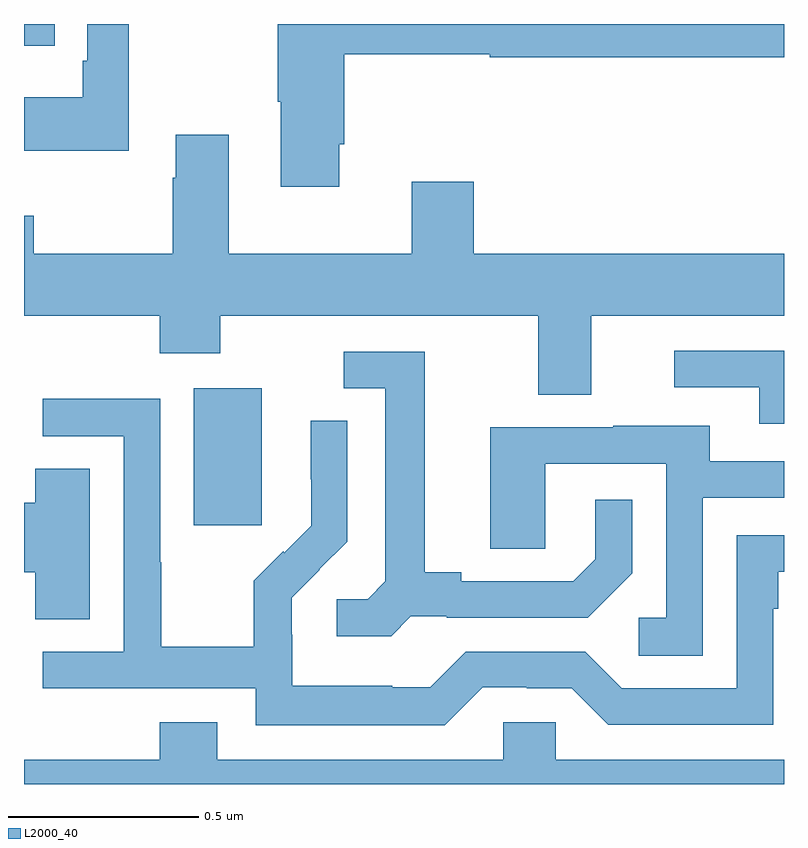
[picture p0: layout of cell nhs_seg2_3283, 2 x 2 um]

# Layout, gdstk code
import gdstk
lib = gdstk.Library(unit=1e-6, precision=1e-09)
def R(c, l, rs):  # rectangles x0, y0, x1, y1
    for r in rs: c.add(gdstk.rectangle(r[:2], r[2:], *l))
def P(c, l, *ps):  # polygons
    for p in ps: c.add(gdstk.Polygon(p, *l))
L2000_40 = (2000, 40)

nhs_seg2_3283 = lib.new_cell('nhs_seg2_3283')
R(nhs_seg2_3283, L2000_40, [(152.447,584.481,152.626,584.842), (152,585.743,152.081,585.8)])
P(nhs_seg2_3283, L2000_40, [(152.275,585.8),(152.166,585.8),(152.166,585.703),(152.154,585.703),(152.154,585.607),(152,585.607),(152,585.467),(152.275,585.467)],
  [(152.83,585.484),(152.843,585.484),(152.843,585.72),(153.226,585.72),(153.226,585.712),(154,585.712),(154,585.8),(152.668,585.8),(152.668,585.595),(152.675,585.595),(152.675,585.372),(152.83,585.372)],
  [(153.493,585.032),(154,585.032),(154,585.196),(153.184,585.196),(153.184,585.385),(153.02,585.385),(153.02,585.196),(152.539,585.196),(152.539,585.508),(152.399,585.508),(152.399,585.395),(152.392,585.395),(152.392,585.196),(152.025,585.196),(152.025,585.295),(152,585.295),(152,585.032),(152.357,585.032),(152.357,584.933),(152.517,584.933),(152.517,585.032),(153.353,585.032),(153.353,584.824),(153.493,584.824)],
  [(154,584.94),(153.711,584.94),(153.711,584.844),(153.935,584.844),(153.935,584.748),(154,584.748)],
  [(153.018,584.241),(153.112,584.241),(153.112,584.238),(153.484,584.238),(153.6,584.354),(153.6,584.548),(153.503,584.548),(153.503,584.391),(153.446,584.334),(153.151,584.334),(153.151,584.357),(153.055,584.357),(153.055,584.937),(152.841,584.937),(152.841,584.841),(152.951,584.841),(152.951,584.333),(152.904,584.286),(152.823,584.286),(152.823,584.189),(152.966,584.189)],
  [(153.207,584.055),(153.323,584.055),(153.323,584.052),(153.441,584.052),(153.537,583.956),(153.972,583.956),(153.972,584.261),(153.985,584.261),(153.985,584.358),(154,584.358),(154,584.454),(153.876,584.454),(153.876,584.052),(153.573,584.052),(153.477,584.148),(153.162,584.148),(153.069,584.055),(152.969,584.055),(152.969,584.059),(152.706,584.059),(152.706,584.193),(152.704,584.193),(152.704,584.29),(152.778,584.364),(152.777,584.365),(152.85,584.438),(152.85,584.756),(152.754,584.756),(152.754,584.602),(152.756,584.602),(152.756,584.48),(152.685,584.409),(152.682,584.412),(152.605,584.335),(152.605,584.161),(152.361,584.161),(152.361,584.384),(152.358,584.384),(152.358,584.814),(152.049,584.814),(152.049,584.715),(152.262,584.715),(152.262,584.148),(152.049,584.148),(152.049,584.052),(152.61,584.052),(152.61,583.955),(153.107,583.955)],
  [(153.786,584.553),(154,584.553),(154,584.649),(153.805,584.649),(153.805,584.743),(153.551,584.743),(153.551,584.739),(153.227,584.739),(153.227,584.419),(153.372,584.419),(153.372,584.643),(153.69,584.643),(153.69,584.238),(153.618,584.238),(153.618,584.137),(153.786,584.137)],
  [(152.173,584.63),(152.03,584.63),(152.03,584.54),(152,584.54),(152,584.357),(152.03,584.357),(152.03,584.233),(152.173,584.233)],
  [(154,583.864),(153.399,583.864),(153.399,583.962),(153.261,583.962),(153.261,583.864),(152.509,583.864),(152.509,583.963),(152.357,583.963),(152.357,583.864),(152,583.864),(152,583.8),(154,583.8)])

lib.write_gds('nhs_seg2_3283.gds')
